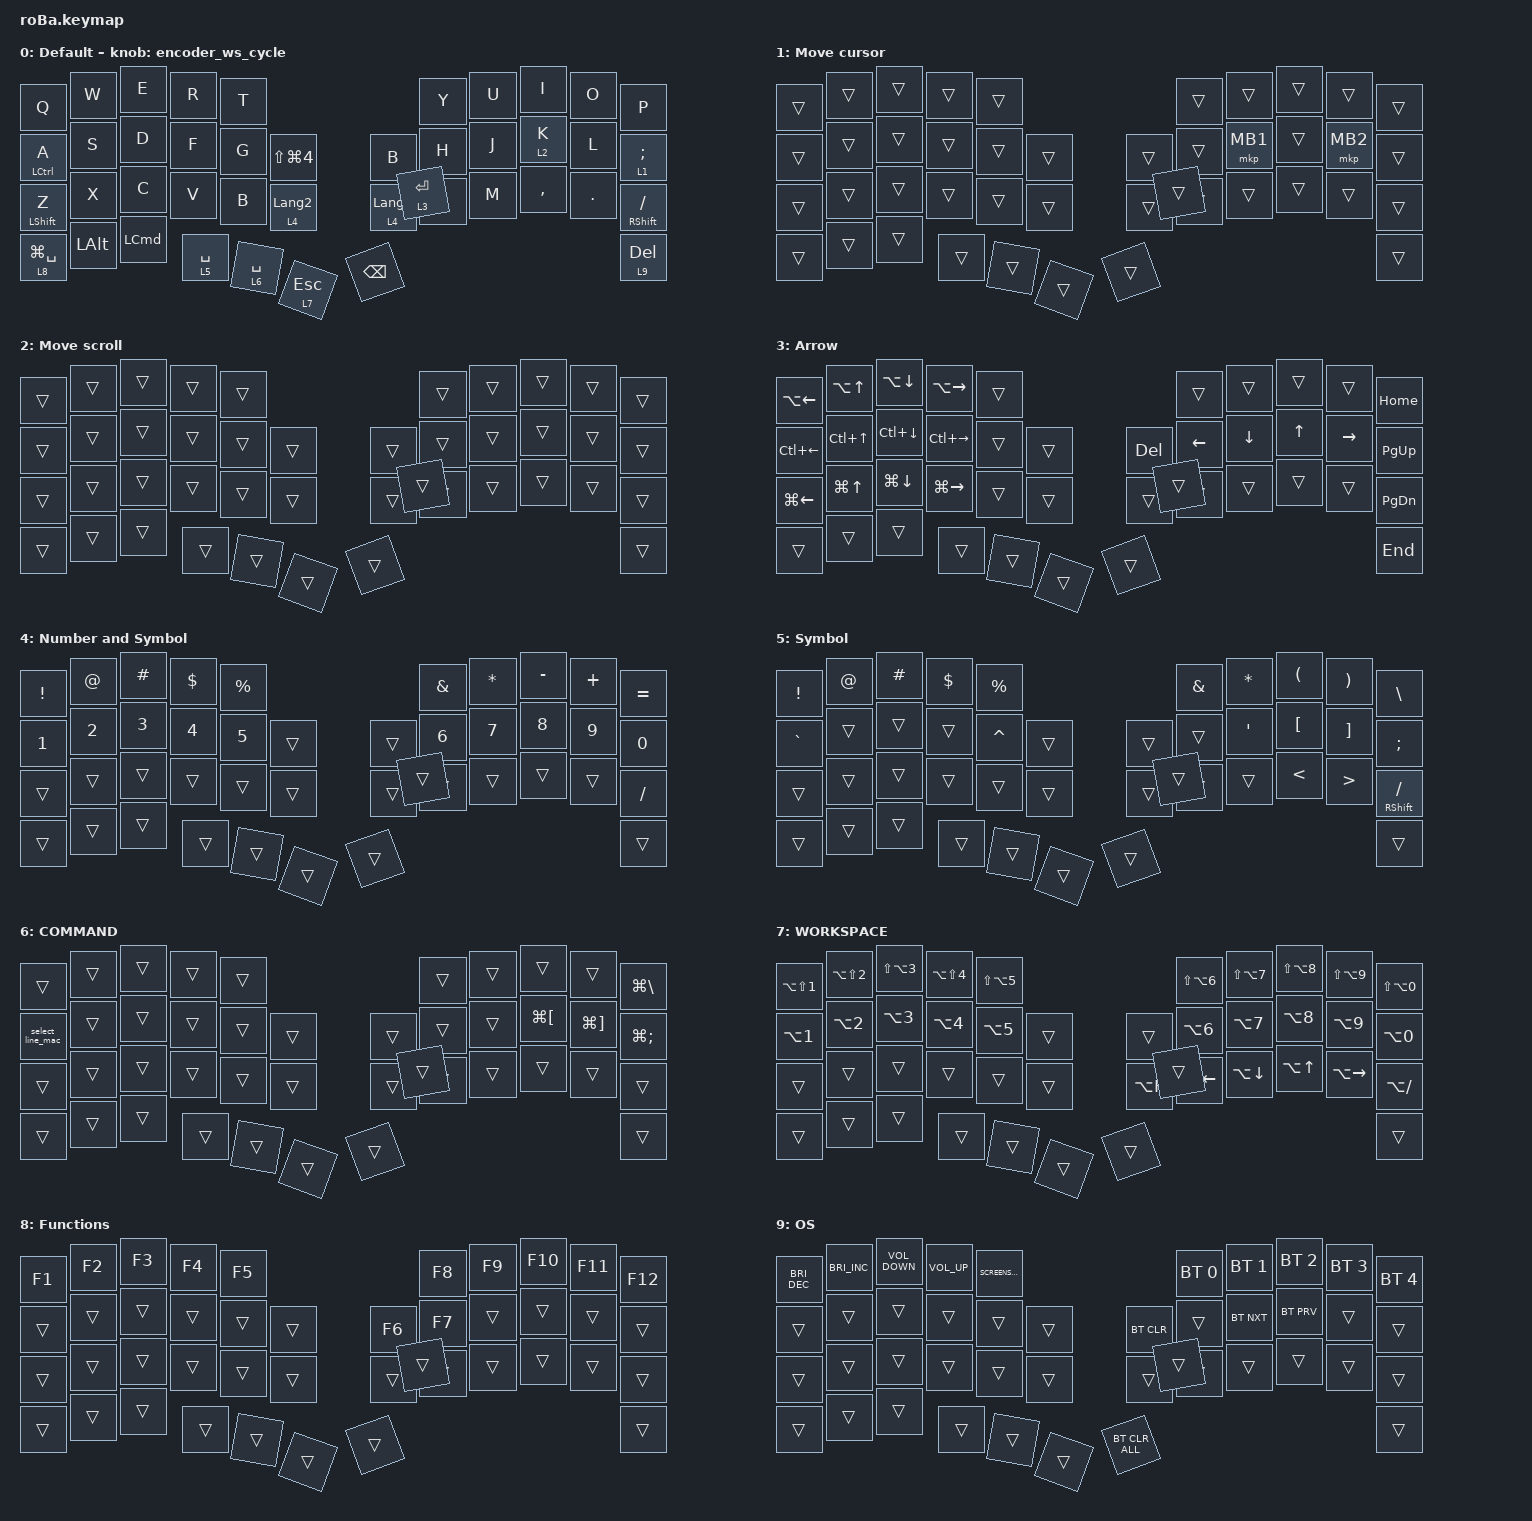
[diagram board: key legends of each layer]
#define ZMK_POINTING_DEFAULT_SCRL_VAL 120

#include <behaviors.dtsi>
#include <dt-bindings/zmk/bt.h>
#include <dt-bindings/zmk/keys.h>
#include <dt-bindings/zmk/pointing.h>

&mt {
    flavor = "balanced";
    tapping-term-ms = <200>;
    quick-tap-ms = <150>;
    require-prior-idle-ms = <100>;
};

&trackball {
    automouse-layer = <1>;
    scroll-layers = <2>;

    // arrows {
    //     layers = <3>;
    //     bindings =
    //         <&kp RIGHT_ARROW>,
    //         <&kp LEFT_ARROW>,
    //         <&kp UP_ARROW>,
    //         <&kp DOWN_ARROW>;
    //     tick = <10>;
    //     wait-ms = <5>;
    //     tap-ms = <5>;
    // };
};

/ {
    combos {
        compatible = "zmk,combos";

        tab {
            bindings = <&kp TAB>;
            key-positions = <0 1>;
        };

        double_quotation {
            bindings = <&kp DOUBLE_QUOTES>;
            key-positions = <20 19>;
        };

        eq {
            bindings = <&kp EQUAL>;
            key-positions = <8 9>;
        };

        single_quotation {
            bindings = <&kp SINGLE_QUOTE>;
            key-positions = <20 21>;
        };

        minus {
            bindings = <&kp MINUS>;
            key-positions = <8 7>;
        };

        escape {
            bindings = <&vim_esc>;
            key-positions = <38 39>;
        };

        fat_arrow {
            bindings = <&fat_arrow>;
            key-positions = <30 31>;
        };

        slim_arrow {
            bindings = <&slim_arrow>;
            key-positions = <31 32>;
        };
    };

    macros {
        vim_esc: vim_esc {
            compatible = "zmk,behavior-macro";
            #binding-cells = <0>;
            bindings = <&kp LANGUAGE_2 &kp ESCAPE>;
            label = "VIM_ESC";
        };

        to_layer_0: to_layer_0 {
            compatible = "zmk,behavior-macro";
            #binding-cells = <0>;
            bindings = <&to 0>;
            label = "TO_LAYER_0";
        };

        lang2_mo4: lang2_mo4 {
            compatible = "zmk,behavior-macro";
            #binding-cells = <0>;
            bindings = <&kp LANGUAGE_2 &mo 4>, <&macro_pause_for_release>;

            label = "LANG2_MO4";
        };

        lang2_mo5: lang2_mo5 {
            compatible = "zmk,behavior-macro";
            #binding-cells = <0>;
            bindings = <&kp LANGUAGE_2 &mo 5>, <&macro_pause_for_release>;

            label = "LANG2_MO5";
        };

        select_line_mac: select_line_mac {
            compatible = "zmk,behavior-macro";
            #binding-cells = <0>;
            bindings =
                <&macro_press>,
                <&kp LEFT_GUI>,
                <&macro_tap>,
                <&kp LEFT_ARROW>,
                <&macro_press>,
                <&kp LEFT_SHIFT>,
                <&macro_tap>,
                <&kp RIGHT_ARROW>,
                <&macro_release>,
                <&kp LEFT_GUI>,
                <&macro_release>,
                <&kp LEFT_SHIFT>;

            label = "SELECT_LINE_MAC";
        };

        fat_arrow: fat_arrow {
            compatible = "zmk,behavior-macro";
            #binding-cells = <0>;
            bindings =
                <&macro_tap>,
                <&kp LANG2>,
                <&macro_tap>,
                <&kp EQUAL>,
                <&macro_tap>,
                <&kp GREATER_THAN>;

            label = "FAT_ARROW";
        };

        slim_arrow: slim_arrow {
            compatible = "zmk,behavior-macro";
            #binding-cells = <0>;
            bindings =
                <&macro_tap>,
                <&kp LANG2>,
                <&macro_tap>,
                <&kp MINUS>,
                <&macro_tap>,
                <&kp GREATER_THAN>;

            label = "SLIM_ARROW";
        };
    };

    behaviors {
        lt_to_layer_0: lt_to_layer_0 {
            compatible = "zmk,behavior-hold-tap";
            label = "LAYER_TAP_TO_0";
            bindings = <&mo>, <&to_layer_0>;

            #binding-cells = <2>;
            tapping-term-ms = <175>; // 自身の打鍵速度に合わせて150〜200の間で調整
            quick-tap-ms = <150>;
            require-prior-idle-ms = <150>;
        };

        encoder_msc_down_up: encoder_msc_down_up {
            compatible = "zmk,behavior-sensor-rotate";
            label = "ENCODER_MSC_DOWN_UP";
            #sensor-binding-cells = <0>;
            bindings = <&msc SCRL_DOWN>, <&msc SCRL_UP>;

            tap-ms = <20>;
        };

        // ガリガリローラー: AeroSpaceのワークスペースを順に移動
        // 手前=次へ(alt+ctrl+n) / 奥=前へ(alt+ctrl+p)
        // ※ bindings は 1つ目=cw, 2つ目=ccw。実機で逆なら2つを入れ替える
        // ※ 1クリックあたりの移動量は roBa.dtsi の steps / triggers-per-rotation で調整
        //   （現在は 1クリック=1ワークスペース）
        encoder_ws_cycle: encoder_ws_cycle {
            compatible = "zmk,behavior-sensor-rotate";
            label = "ENCODER_WS_CYCLE";
            #sensor-binding-cells = <0>;
            bindings = <&kp LC(LA(P))>, <&kp LC(LA(N))>;

            tap-ms = <20>;
        };

        ht_lang2_mo4: ht_lang2_mo4 {
            compatible = "zmk,behavior-hold-tap";
            label = "HT_LANG2_MO4";
            #binding-cells = <2>;
            flavor = "tap-preferred";
            tapping-term-ms = <200>;
            quick-tap-ms = <150>;
            bindings = <&lang2_mo4>, <&kp>;
        };

        ht_lang2_mo5: ht_lang2_mo5 {
            compatible = "zmk,behavior-hold-tap";
            label = "HT_LANG2_MO5";
            #binding-cells = <2>;
            flavor = "tap-preferred";
            tapping-term-ms = <200>;
            quick-tap-ms = <150>;
            bindings = <&lang2_mo5>, <&kp>;
        };
    };

    keymap {
        compatible = "zmk,keymap";

        DEFAULT {
            bindings = <
&kp Q               &kp W         &kp E             &kp R        &kp T                                                    &kp Y        &kp U  &kp I      &kp O    &kp P
&mt LEFT_CONTROL A  &kp S         &kp D             &kp F        &kp G        &kp LS(LG(NUMBER_4))      &kp B             &kp H        &kp J  &lt 2 K    &kp L    &lt 1 SEMICOLON
&mt LEFT_SHIFT Z    &kp X         &kp C             &kp V        &kp B        &lt 4 LANGUAGE_2          &lt 4 LANGUAGE_1  &kp N        &kp M  &kp COMMA  &kp DOT  &mt RIGHT_SHIFT SLASH
&lt 8 LG(SPACE)     &kp LEFT_ALT  &kp LEFT_COMMAND  &lt 5 SPACE  &lt 6 SPACE  &lt 7 ESCAPE              &kp BACKSPACE     &lt 3 ENTER                             &lt 9 DELETE
            >;

            sensor-bindings = <&encoder_ws_cycle>;
            label = "Default";
        };

        MOUSE {
            bindings = <
&trans  &trans  &trans  &trans  &trans                      &trans  &trans    &trans  &trans    &trans
&trans  &trans  &trans  &trans  &trans  &trans      &trans  &trans  &mkp MB1  &trans  &mkp MB2  &trans
&trans  &trans  &trans  &trans  &trans  &trans      &trans  &trans  &trans    &trans  &trans    &trans
&trans  &trans  &trans  &trans  &trans  &trans      &trans  &trans                              &trans
            >;

            label = "Move cursor";
        };

        SCROLL {
            bindings = <
&trans  &trans  &trans  &trans  &trans                      &trans  &trans  &trans  &trans  &trans
&trans  &trans  &trans  &trans  &trans  &trans      &trans  &trans  &trans  &trans  &trans  &trans
&trans  &trans  &trans  &trans  &trans  &trans      &trans  &trans  &trans  &trans  &trans  &trans
&trans  &trans  &trans  &trans  &trans  &trans      &trans  &trans                          &trans
            >;

            label = "Move scroll";
        };

        ARROW {
            bindings = <
&kp LA(LEFT_ARROW)  &kp LA(UP_ARROW)  &kp LA(DOWN_ARROW)  &kp LA(RIGHT_ARROW)  &trans                          &trans    &trans          &trans        &trans           &kp HOME
&kp LC(LEFT_ARROW)  &kp LC(UP_ARROW)  &kp LC(DOWN_ARROW)  &kp LC(RIGHT_ARROW)  &trans  &trans      &kp DELETE  &kp LEFT  &kp DOWN_ARROW  &kp UP_ARROW  &kp RIGHT_ARROW  &kp PAGE_UP
&kp LG(LEFT_ARROW)  &kp LG(UP_ARROW)  &kp LG(DOWN_ARROW)  &kp LG(RIGHT_ARROW)  &trans  &trans      &trans      &trans    &trans          &trans        &trans           &kp PAGE_DOWN
&trans              &trans            &trans              &trans               &trans  &trans      &trans      &trans                                                   &kp END
            >;

            label = "Arrow";
        };

        NUM {
            bindings = <
&kp EXCLAMATION  &kp AT_SIGN   &kp POUND     &kp DOLLAR    &kp PERCENT                      &kp AMPERSAND  &kp ASTERISK  &kp MINUS     &kp PLUS      &kp EQUAL
&kp NUMBER_1     &kp NUMBER_2  &kp NUMBER_3  &kp NUMBER_4  &kp N5       &trans      &trans  &kp NUMBER_6   &kp NUMBER_7  &kp NUMBER_8  &kp NUMBER_9  &kp NUMBER_0
&trans           &trans        &trans        &trans        &trans       &trans      &trans  &trans         &trans        &trans        &trans        &kp SLASH
&trans           &trans        &trans        &trans        &trans       &trans      &trans  &trans                                                   &trans
            >;

            label = "Number and Symbol";
        };

        SYMBOL {
            bindings = <
&kp EXCLAMATION  &kp AT_SIGN  &kp HASH  &kp DOLLAR  &kp PERCENT                      &kp AMPERSAND  &kp ASTERISK      &kp LEFT_PARENTHESIS  &kp RIGHT_PARENTHESIS  &kp BACKSLASH
&kp GRAVE        &trans       &trans    &trans      &kp CARET    &trans      &trans  &trans         &kp SINGLE_QUOTE  &kp LEFT_BRACKET      &kp RIGHT_BRACKET      &kp SEMICOLON
&trans           &trans       &trans    &trans      &trans       &trans      &trans  &trans         &trans            &kp LESS_THAN         &kp GREATER_THAN       &mt RIGHT_SHIFT SLASH
&trans           &trans       &trans    &trans      &trans       &trans      &trans  &trans                                                                        &trans
            >;

            label = "Symbol";
        };

        COMMAND {
            bindings = <
&trans            &trans  &trans  &trans  &trans                      &trans  &trans  &trans                &trans                 &kp LG(BACKSLASH)
&select_line_mac  &trans  &trans  &trans  &trans  &trans      &trans  &trans  &trans  &kp LG(LEFT_BRACKET)  &kp LG(RIGHT_BRACKET)  &kp LG(SEMICOLON)
&trans            &trans  &trans  &trans  &trans  &trans      &trans  &trans  &trans  &trans                &trans                 &trans
&trans            &trans  &trans  &trans  &trans  &trans      &trans  &trans                                                       &trans
            >;
        };

        WORKSPACE {
            bindings = <
&kp LA(LS(NUMBER_1))  &kp LA(LS(NUMBER_2))  &kp LS(LA(NUMBER_3))  &kp LA(LS(NUMBER_4))  &kp LS(LA(NUMBER_5))                         &kp LS(LA(NUMBER_6))  &kp LS(LA(NUMBER_7))  &kp LS(LA(NUMBER_8))  &kp LS(LA(NUMBER_9))  &kp LS(LA(NUMBER_0))
&kp LA(NUMBER_1)      &kp LA(NUMBER_2)      &kp LA(NUMBER_3)      &kp LA(NUMBER_4)      &kp LA(NUMBER_5)      &trans      &trans     &kp LA(NUMBER_6)      &kp LA(NUMBER_7)      &kp LA(NUMBER_8)      &kp LA(NUMBER_9)      &kp LA(NUMBER_0)
&trans                &trans                &trans                &trans                &trans                &trans      &kp LA(F)  &kp LA(LEFT_ARROW)    &kp LA(DOWN_ARROW)    &kp LA(UP_ARROW)      &kp LA(RIGHT_ARROW)   &kp LA(SLASH)
&trans                &trans                &trans                &trans                &trans                &trans      &trans     &trans                                                                                  &trans
            >;
        };

        FUNCTION {
            bindings = <
&kp F1  &kp F2  &kp F3  &kp F4  &kp F5                      &kp F8  &kp F9  &kp F10  &kp F11  &kp F12
&trans  &trans  &trans  &trans  &trans  &trans      &kp F6  &kp F7  &trans  &trans   &trans   &trans
&trans  &trans  &trans  &trans  &trans  &trans      &trans  &trans  &trans  &trans   &trans   &trans
&trans  &trans  &trans  &trans  &trans  &trans      &trans  &trans                            &trans
            >;

            label = "Functions";
        };

        SYSTEM {
            bindings = <
&kp C_BRIGHTNESS_DEC  &kp C_BRIGHTNESS_INC  &kp C_VOLUME_DOWN  &kp C_VOLUME_UP  &kp K_SCREENSAVER                              &bt BT_SEL 0  &bt BT_SEL 1  &bt BT_SEL 2  &bt BT_SEL 3  &bt BT_SEL 4
&trans                &trans                &trans             &trans           &trans             &trans      &bt BT_CLR      &trans        &bt BT_NXT    &bt BT_PRV    &trans        &trans
&trans                &trans                &trans             &trans           &trans             &trans      &trans          &trans        &trans        &trans        &trans        &trans
&trans                &trans                &trans             &trans           &trans             &trans      &bt BT_CLR_ALL  &trans                                                  &trans
            >;

            label = "OS";
        };
    };

    conditional_layers { compatible = "zmk,conditional-layers"; };
};
